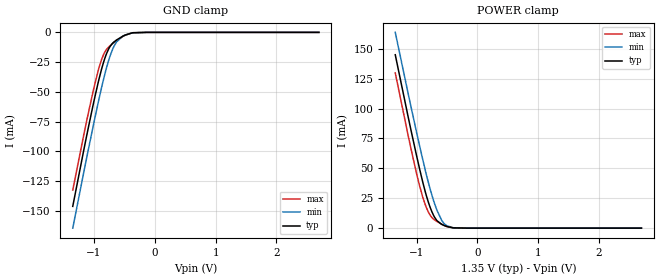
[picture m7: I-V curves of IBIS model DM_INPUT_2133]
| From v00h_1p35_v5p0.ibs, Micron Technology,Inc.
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| MODEL DM_INPUT_2133 (DM Input Model with no ODT, 2133Mbps)
[Model]   DM_INPUT_2133
Model_type   Input
Vinl = 545.000mV
Vinh = 805.000mV
|   typ   min   max
|C_comp   1.100pF   1.025pF   1.175pF
C_comp_power_clamp   0.5500pF   0.5125pF   0.5875pF
C_comp_gnd_clamp   0.5500pF   0.5125pF   0.5875pF
[Model Spec]
| Input threshold voltage corners
Vinl   0.5450V   0.5115V   0.5825V
Vinh   0.8050V   0.7715V   0.8425V
| Dynamic Overshoot Parameters from DDR3L Specification
D_overshoot_ampl_h   0.40   NA   NA
D_overshoot_ampl_l   0.40   NA   NA
D_overshoot_area_h   0.10n   NA   NA
D_overshoot_area_l   0.10n   NA   NA
[Receiver Thresholds]
Vth   =  0.675V
Vth_min  =  0.6615V
Vth_max  =  0.6885V
Vinh_ac  =  0.130V
Vinh_dc  =  0.090V
Vinl_ac  = -0.130V
Vinl_dc  = -0.090V
Tslew_ac =  5.000ns |Not specified, so set to high value
Threshold_sensitivity = 0.50
Reference_supply Power_clamp_ref
[Voltage Range]   1.3500V   1.2830V   1.4250V
[POWER Clamp Reference]   1.3500V   1.2830V   1.4250V
| Junction Temperature (Ambient temp is 35C typ, 95C min, 0C max)
[Temperature Range]   50.0   110.0   0.0
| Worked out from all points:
|   GND clamp passes 1 mA (typ) near -0.41 V on its own axis
|   POWER clamp passes 1 mA (typ) near -0.47 V on its own axis
[GND Clamp]
|   Voltage   I(typ)   I(min)   I(max)
-1.35V    -146.1mA   -164.4mA   -132.5mA
-1.17V    -99.34mA   -117.9mA   -86.43mA
-1.018V   -61.65mA   -79.69mA   -50.2mA
-931.7mV  -42.14mA   -59.07mA   -32.14mA
-879.8mV  -31.6mA    -47.25mA   -23.36mA
-785.7mV  -16.83mA   -28.09mA   -13.77mA
-691.2mV  -8.931mA   -13.87mA   -9.377mA
-629mV    -6.347mA   -7.938mA   -6.987mA
-528.9mV  -3.282mA   -3.265mA   -3.592mA
-372.4mV  -421.1uA   -474.5uA   -377.2uA
-133.7mV  -518.1nA   -1.943uA   -88.8nA
2.7V      0A         0A         0A
[POWER Clamp]
|   Voltage   I(typ)   I(min)   I(max)
-1.35V    145.1mA    163.8mA    129.9mA
-1.083V   80.08mA    99.66mA    64.53mA
-997.2mV  60.13mA    79.67mA    45.19mA
-896.9mV  38.35mA    57.19mA    25.77mA
-809.9mV  22.44mA    39.09mA    13.97mA
-721.6mV  10.86mA    23.36mA    7.639mA
-662.9mV  6.175mA    14.84mA    5.513mA
-585.3mV  3.162mA    6.434mA    3.248mA
-526.3mV  1.815mA    2.856mA    1.843mA
-402.3mV  294.8uA    422.8uA    231.8uA
-133.7mV  286.8nA    1.419uA    29.78nA
2.7V      0A         0A         0A
